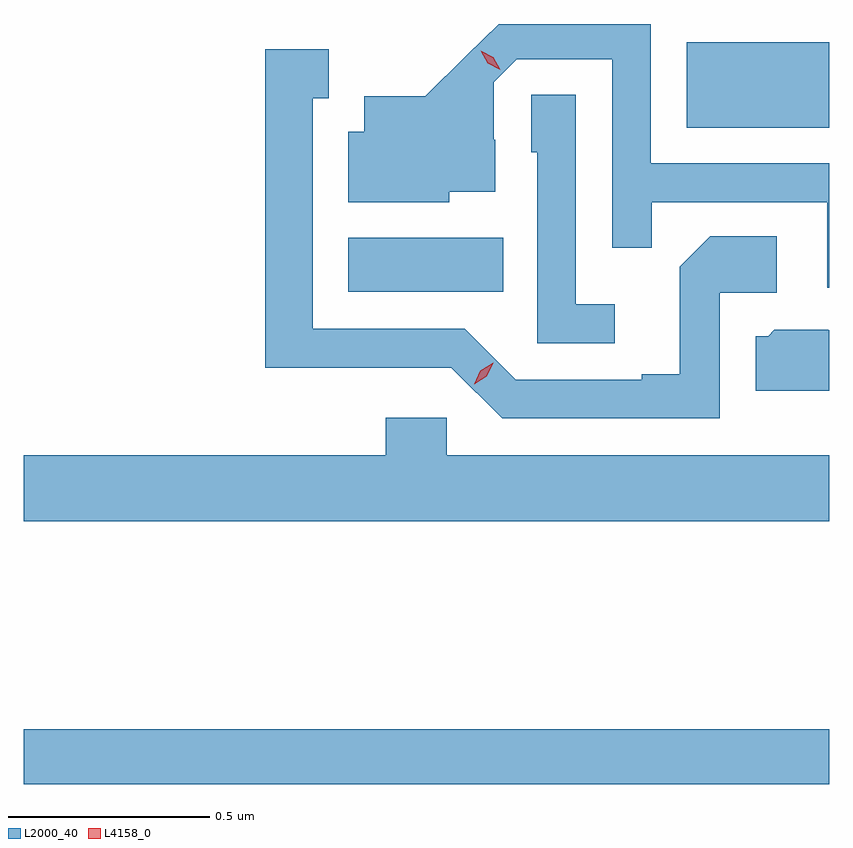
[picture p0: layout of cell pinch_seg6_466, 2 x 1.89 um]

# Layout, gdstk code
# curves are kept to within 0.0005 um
import gdstk
lib = gdstk.Library(unit=1e-6, precision=1e-09)
def R(c, l, rs):  # rectangles x0, y0, x1, y1
    for r in rs: c.add(gdstk.rectangle(r[:2], r[2:], *l))
def P(c, l, *ps):  # polygons
    for p in ps: c.add(gdstk.Polygon(p, *l))
L2000_40 = (2000, 40)
L4158_0 = (4158, 0)

pinch_seg6_466 = lib.new_cell('pinch_seg6_466')
R(pinch_seg6_466, L2000_40, [(719.316,925.372,721.316,925.508), (720.122,926.594,720.506,926.728), (720.962,927.002,721.316,927.214)])
P(pinch_seg6_466, L2000_40, [(721.316,926.913),(720.873,926.913),(720.873,927.259),(720.495,927.259),(720.313,927.079),(720.161,927.079),(720.161,926.992),(720.122,926.992),(720.122,926.816),(720.372,926.816),(720.372,926.843),(720.487,926.843),(720.487,926.972),(720.483,926.972),(720.483,927.114),(720.54,927.171),(720.777,927.171),(720.777,926.704),(720.875,926.704),(720.875,926.817),(721.311,926.817),(721.311,926.604),(721.316,926.604)],
  [(721.044,926.592),(721.186,926.592),(721.186,926.732),(721.021,926.732),(720.945,926.656),(720.945,926.389),(720.851,926.389),(720.851,926.376),(720.537,926.376),(720.411,926.502),(720.034,926.502),(720.034,927.075),(720.073,927.075),(720.073,927.196),(719.916,927.196),(719.916,926.405),(720.156,926.405),(720.156,926.406),(720.378,926.406),(720.504,926.28),(721.044,926.28)],
  [(720.784,926.563),(720.687,926.563),(720.687,927.083),(720.576,927.083),(720.576,926.94),(720.591,926.94),(720.591,926.466),(720.784,926.466)],
  [(721.316,926.499),(721.314,926.499),(721.314,926.5),(721.18,926.5),(721.164,926.484),(721.133,926.484),(721.133,926.348),(721.316,926.348)],
  [(721.316,926.188),(720.366,926.188),(720.366,926.281),(720.215,926.281),(720.215,926.188),(719.316,926.188),(719.316,926.024),(721.316,926.024)])
P(pinch_seg6_466, L4158_0, [(720.499,927.146),(720.468,927.162),(720.451,927.192),(720.451,927.192),(720.451,927.192),(720.482,927.176),(720.499,927.146),(720.499,927.146)],
  [(720.434,926.365),(720.434,926.365),(720.45,926.398),(720.482,926.418),(720.482,926.418),(720.482,926.417),(720.465,926.384),(720.434,926.365)])

lib.write_gds('pinch_seg6_466.gds')
